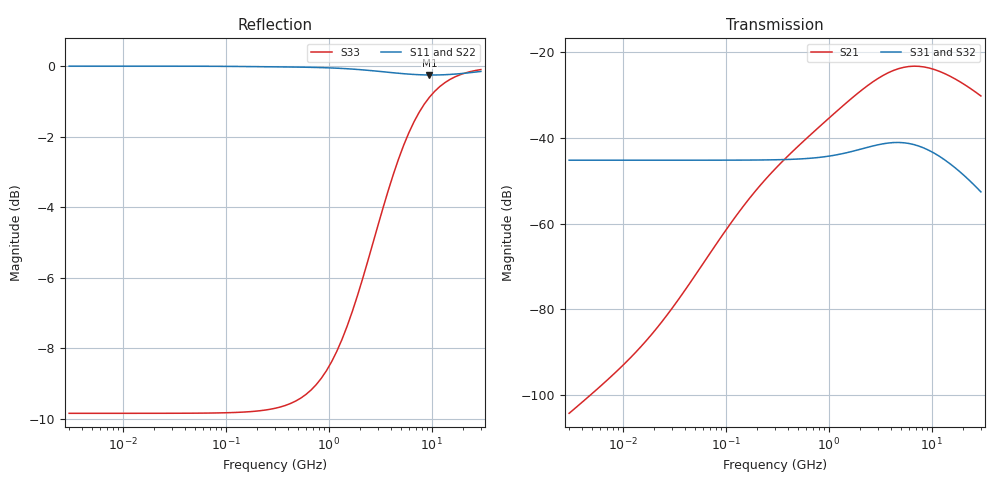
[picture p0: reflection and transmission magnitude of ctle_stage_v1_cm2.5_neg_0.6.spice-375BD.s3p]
# Hz S RI R 2000 2000 4000
!  Freq  ReS11  ImS11  ReS12  ImS12  ReS13  ImS13
!  ReS21  ImS21  ReS22  ImS22  ReS23  ImS23
!  ReS31  ImS31  ReS32  ImS32  ReS33  ImS33
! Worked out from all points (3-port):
!   81 points, 3 MHz to 30 GHz, reference 2000 ohm
!   strongest paths, dB at 3 MHz, 30 MHz, 300 MHz, 3 GHz, 30 GHz:
!     S31: -45.2, -45.2, -45.1, -41.6, -52.6
!     S32: -45.2, -45.2, -45.1, -41.6, -52.6
!     S21: -104.3, -79.8, -47.3, -26.1, -30.2
!   lowest |S11| = -0.3 dB at 9.487 GHz (marker M1), VSWR 69.49, Z = 42.1 - j1.36e+03 ohm
!   |S11| at or under -10 dB: nowhere
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3000000  1 -0.000999  -7.4e-07 6.05e-06  3.35e-09 1.43e-06
         -7.4e-07 6.05e-06  1 -0.000999  -3.35e-09 -1.43e-06
         0.00548 -1.6e-05  -0.00548 1.6e-05  0.3221 -0.000821
3e7  0.9999 -0.00997  -7.19e-05 7.31e-05  3.35e-07 1.43e-05
     -7.19e-05 7.31e-05  0.9999 -0.00997  -3.35e-07 -1.43e-05
     0.00548 -0.00016  -0.00548 0.00016  0.3221 -0.00821
2.123837e8  0.996 -0.0687  -0.00145 0.00232  1.67e-05 9.97e-05
            -0.00145 0.00232  0.996 -0.0687  -1.67e-05 -9.97e-05
            0.0054 -0.00113  -0.0054 0.00113  0.3196 -0.058
3e8  0.9932 -0.0962  -0.00172 0.00397  3.32e-05 0.000139
     -0.00172 0.00397  0.9932 -0.0962  -3.32e-05 -0.000139
     0.00532 -0.00159  -0.00532 0.00159  0.317 -0.0818
8.455149e8  0.9599 -0.2633  -0.00029 0.0141  0.000249 0.000327
            -0.00029 0.0141  0.9599 -0.2633  -0.000249 -0.000327
            0.00421 -0.00421  -0.00421 0.00421  0.2828 -0.2246
2.123837e9  0.7882 -0.5958  0.0151 0.0334  0.00111 7.97e-05
            0.0151 0.0334  0.7882 -0.5958  -0.00111 -7.97e-05
            -0.000855 -0.00743  0.000855 0.00743  0.108 -0.4873
5.334838e9  0.176 -0.9597  0.063 0.0212  0.000839 -0.00267
            0.063 0.0212  0.176 -0.9597  -0.000839 0.00267
            -0.00855 -0.00194  0.00855 0.00194  -0.4046 -0.6582
9.486833e9  -0.3563 -0.9039  0.0629 -0.0173  -0.00199 -0.0033
            0.0629 -0.0173  -0.3563 -0.9039  0.00199 0.0033
            -0.00617 0.00352  0.00617 -0.00352  -0.7283 -0.5348
1.687024e10  -0.7193 -0.6575  0.0354 -0.0334  -0.00399 -0.00129
             0.0354 -0.0334  -0.7193 -0.6575  0.00399 0.00129
             -0.002 0.004  0.002 -0.004  -0.9004 -0.3498
3e10  -0.89 -0.4172  0.0139 -0.0275  -0.00358 0.00102
      0.0139 -0.0275  -0.89 -0.4172  0.00358 -0.00102
      -0.000111 0.00234  0.000111 -0.00234  -0.967 -0.2073
